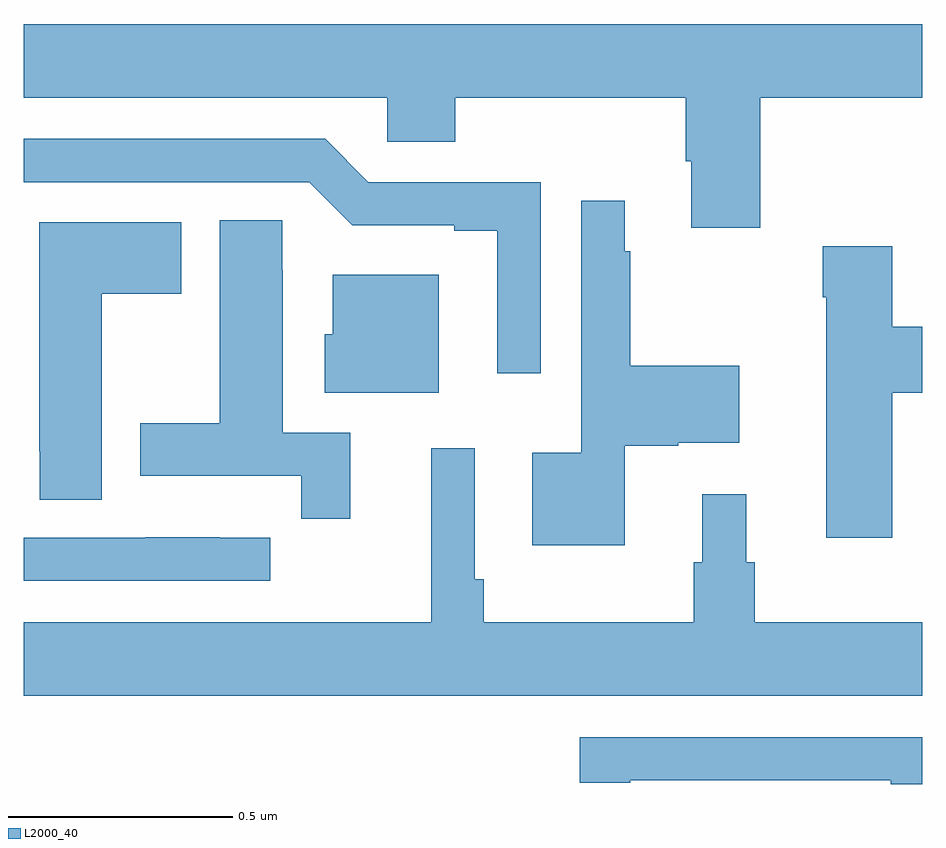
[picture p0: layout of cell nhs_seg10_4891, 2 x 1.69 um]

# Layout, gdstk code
import gdstk
lib = gdstk.Library(unit=1e-6, precision=1e-09)
def P(c, l, *ps):  # polygons
    for p in ps: c.add(gdstk.Polygon(p, *l))
L2000_40 = (2000, 40)

nhs_seg10_4891 = lib.new_cell('nhs_seg10_4891')
P(nhs_seg10_4891, L2000_40, [(173.639,1255.028),(174,1255.028),(174,1255.192),(172,1255.192),(172,1255.028),(172.809,1255.028),(172.809,1254.93),(172.961,1254.93),(172.961,1255.028),(173.474,1255.028),(173.474,1254.886),(173.486,1254.886),(173.486,1254.738),(173.639,1254.738)],
  [(173.151,1254.84),(172.767,1254.84),(172.671,1254.936),(172,1254.936),(172,1254.84),(172.635,1254.84),(172.731,1254.744),(172.958,1254.744),(172.958,1254.732),(173.054,1254.732),(173.054,1254.414),(173.151,1254.414)],
  [(173.338,1254.253),(173.457,1254.253),(173.457,1254.26),(173.593,1254.26),(173.593,1254.431),(173.35,1254.431),(173.35,1254.686),(173.338,1254.686),(173.338,1254.799),(173.241,1254.799),(173.241,1254.238),(173.132,1254.238),(173.132,1254.032),(173.338,1254.032)],
  [(172.727,1254.282),(172.576,1254.282),(172.576,1254.644),(172.575,1254.644),(172.575,1254.755),(172.436,1254.755),(172.436,1254.303),(172.259,1254.303),(172.259,1254.186),(172.618,1254.186),(172.618,1254.09),(172.727,1254.09)],
  [(172.174,1254.592),(172.351,1254.592),(172.351,1254.751),(172.034,1254.751),(172.034,1254.241),(172.035,1254.241),(172.035,1254.133),(172.174,1254.133)],
  [(173.933,1254.371),(174,1254.371),(174,1254.518),(173.933,1254.518),(173.933,1254.697),(173.779,1254.697),(173.779,1254.584),(173.786,1254.584),(173.786,1254.048),(173.933,1254.048)],
  [(172.924,1254.634),(172.688,1254.634),(172.688,1254.501),(172.67,1254.501),(172.67,1254.371),(172.924,1254.371)],
  [(174,1253.86),(173.627,1253.86),(173.627,1253.994),(173.608,1253.994),(173.608,1254.145),(173.51,1254.145),(173.51,1253.994),(173.491,1253.994),(173.491,1253.86),(173.024,1253.86),(173.024,1253.956),(173.004,1253.956),(173.004,1254.247),(172.907,1254.247),(172.907,1253.86),(172,1253.86),(172,1253.696),(174,1253.696)],
  [(172.549,1254.048),(172.436,1254.048),(172.436,1254.049),(172.27,1254.049),(172.27,1254.048),(172,1254.048),(172,1253.952),(172.549,1253.952)],
  [(174,1253.604),(173.238,1253.604),(173.238,1253.503),(173.35,1253.503),(173.35,1253.508),(173.93,1253.508),(173.93,1253.5),(174,1253.5)])

lib.write_gds('nhs_seg10_4891.gds')
